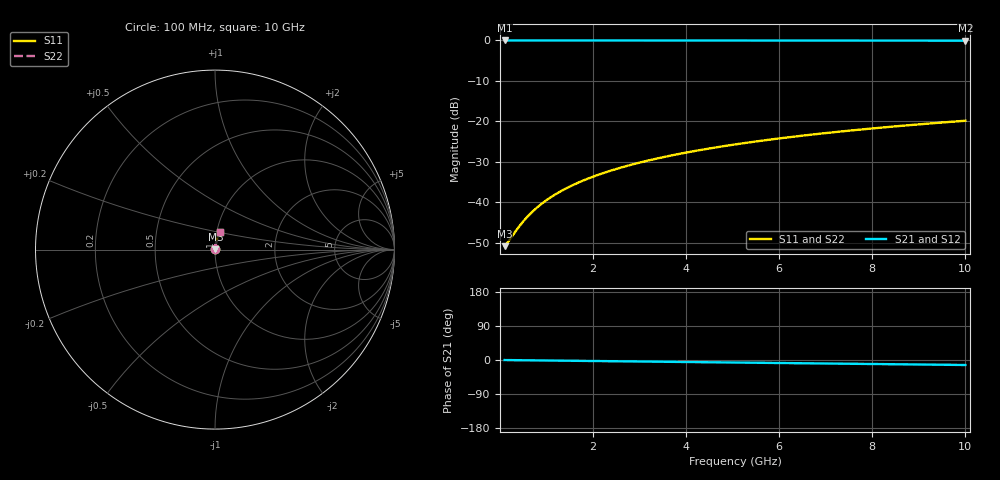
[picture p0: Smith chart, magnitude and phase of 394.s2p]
# Hz S RI R 50.00
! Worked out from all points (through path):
!   100 points, 100 MHz to 10 GHz, reference 50 ohm
!   highest |S21| = -0.02 dB at 100 MHz (marker M1); lowest = -0.1 dB at 10 GHz (marker M2)
!   group delay of S21, straight-line fit = 3.66 ps
!   lowest |S11| = -50.8 dB at 100 MHz (marker M3), VSWR 1.01, Z = 50.3 + j0.103 ohm
!   |S11| at or under -10 dB: start of sweep to end of sweep
!   |S22| runs from -50.8 to -19.8 dB; largest |S21 - S12| = 0
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1e8  0.0027 0.00102  0.9973 -0.0023  0.9973 -0.0023  0.0027 0.00102
2e8  0.00273 0.00205  0.9973 -0.00459  0.9973 -0.00459  0.00273 0.00205
4e8  0.00278 0.0041  0.9972 -0.00919  0.9972 -0.00919  0.00278 0.0041
5e8  0.00281 0.00512  0.9972 -0.0115  0.9972 -0.0115  0.00281 0.00512
6e8  0.00284 0.00614  0.9971 -0.0138  0.9971 -0.0138  0.00284 0.00614
7e8  0.00288 0.00717  0.9971 -0.0161  0.9971 -0.0161  0.00288 0.00717
8e8  0.00292 0.00819  0.997 -0.0184  0.997 -0.0184  0.00292 0.00819
1e9  0.00302 0.0102  0.9969 -0.023  0.9969 -0.023  0.00302 0.0102
1.2e9  0.00313 0.0123  0.9967 -0.0276  0.9967 -0.0276  0.00313 0.0123
1.5e9  0.00333 0.0153  0.9965 -0.0344  0.9965 -0.0344  0.00333 0.0153
1.8e9  0.00358 0.0184  0.9961 -0.0413  0.9961 -0.0413  0.00358 0.0184
2.1e9  0.00386 0.0215  0.9958 -0.0482  0.9958 -0.0482  0.00386 0.0215
2.5e9  0.00431 0.0255  0.9952 -0.0574  0.9952 -0.0574  0.00431 0.0255
2.9e9  0.00483 0.0296  0.9945 -0.0665  0.9945 -0.0665  0.00483 0.0296
3.4e9  0.00558 0.0347  0.9934 -0.0779  0.9934 -0.0779  0.00558 0.0347
4.2e9  0.00703 0.0427  0.9915 -0.0962  0.9915 -0.0962  0.00703 0.0427
5.1e9  0.00901 0.0517  0.9888 -0.1166  0.9888 -0.1166  0.00901 0.0517
5.9e9  0.0111 0.0596  0.986 -0.1348  0.986 -0.1348  0.0111 0.0596
6.7e9  0.0134 0.0674  0.9828 -0.1528  0.9828 -0.1528  0.0134 0.0674
7.5e9  0.0161 0.0751  0.9793 -0.1707  0.9793 -0.1707  0.0161 0.0751
8.4e9  0.0194 0.0837  0.9748 -0.1908  0.9748 -0.1908  0.0194 0.0837
1e10  0.0261 0.0985  0.9656 -0.226  0.9656 -0.226  0.0261 0.0985
